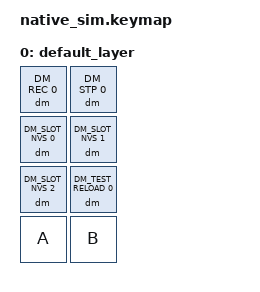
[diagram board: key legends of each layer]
#include <dt-bindings/zmk/keys.h>
#include <behaviors.dtsi>
#include <dt-bindings/zmk/kscan_mock.h>
#include <behaviors/dynamic_macro.dtsi>
#include <dt-bindings/zmk/dynamic_macros.h>

/* Record distinct macros into 3 NVS slots, reload from NVS,
 * verify all three slots survive the reload independently. */

&kscan {
    rows = <4>;
    columns = <2>;
    exit-after;
    events = <
        /* Record A into NVS slot 0 */
        ZMK_MOCK_PRESS(0,0,10)
        ZMK_MOCK_RELEASE(0,0,10)
        ZMK_MOCK_PRESS(3,0,10)
        ZMK_MOCK_RELEASE(3,0,10)
        ZMK_MOCK_PRESS(0,1,10)
        ZMK_MOCK_RELEASE(0,1,10)
        ZMK_MOCK_PRESS(1,0,500)
        ZMK_MOCK_RELEASE(1,0,10)
        /* Record B into NVS slot 1 */
        ZMK_MOCK_PRESS(0,0,10)
        ZMK_MOCK_RELEASE(0,0,10)
        ZMK_MOCK_PRESS(3,1,10)
        ZMK_MOCK_RELEASE(3,1,10)
        ZMK_MOCK_PRESS(0,1,10)
        ZMK_MOCK_RELEASE(0,1,10)
        ZMK_MOCK_PRESS(1,1,500)
        ZMK_MOCK_RELEASE(1,1,10)
        /* Record A B into NVS slot 2 */
        ZMK_MOCK_PRESS(0,0,10)
        ZMK_MOCK_RELEASE(0,0,10)
        ZMK_MOCK_PRESS(3,0,10)
        ZMK_MOCK_RELEASE(3,0,10)
        ZMK_MOCK_PRESS(3,1,10)
        ZMK_MOCK_RELEASE(3,1,10)
        ZMK_MOCK_PRESS(0,1,10)
        ZMK_MOCK_RELEASE(0,1,10)
        ZMK_MOCK_PRESS(2,0,500)
        ZMK_MOCK_RELEASE(2,0,10)
        /* TEST_RELOAD: flush NVS, zero RAM, reload */
        ZMK_MOCK_PRESS(2,1,10)
        ZMK_MOCK_RELEASE(2,1,10)
        /* Play NVS slot 0: should be A */
        ZMK_MOCK_PRESS(1,0,2000)
        ZMK_MOCK_RELEASE(1,0,10)
        /* Play NVS slot 1: should be B */
        ZMK_MOCK_PRESS(1,1,2000)
        ZMK_MOCK_RELEASE(1,1,10)
        /* Play NVS slot 2: should be A B */
        ZMK_MOCK_PRESS(2,0,2000)
        ZMK_MOCK_RELEASE(2,0,10)
    >;
};

/ {
    keymap {
        compatible = "zmk,keymap";
        default_layer {
            bindings = <
                &dm DM_REC 0           &dm DM_STP 0
                &dm DM_SLOT_NVS 0      &dm DM_SLOT_NVS 1
                &dm DM_SLOT_NVS 2      &dm DM_TEST_RELOAD 0
                &kp A                  &kp B
            >;
        };
    };
};
